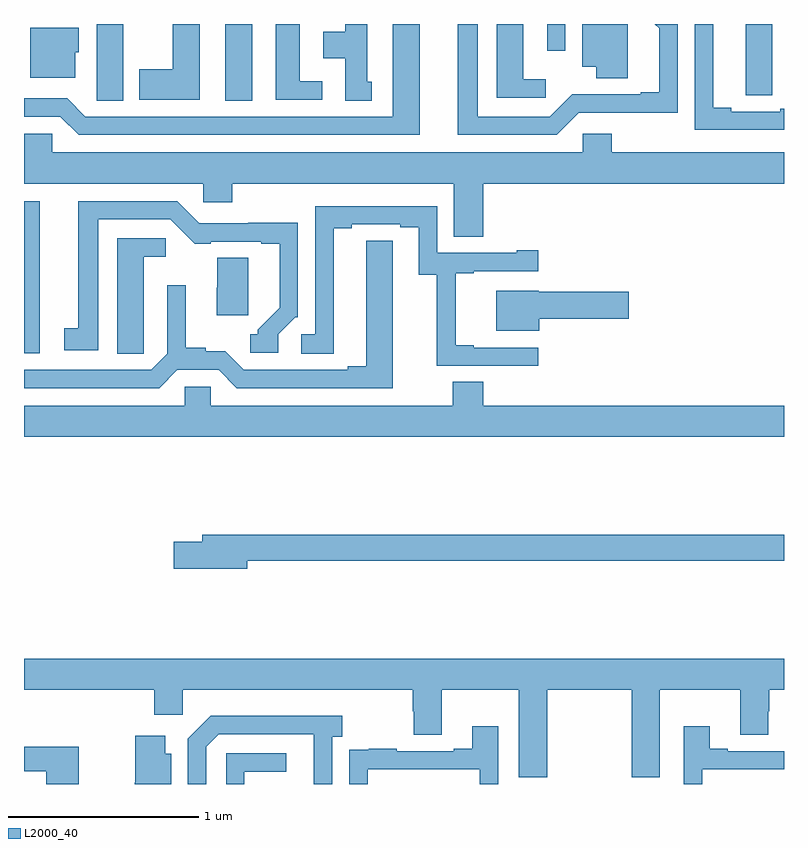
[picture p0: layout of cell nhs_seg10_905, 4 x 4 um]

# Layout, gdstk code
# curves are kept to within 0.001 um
import gdstk
lib = gdstk.Library(unit=1e-6, precision=1e-09)
def R(c, l, rs):  # rectangles x0, y0, x1, y1
    for r in rs: c.add(gdstk.rectangle(r[:2], r[2:], *l))
def P(c, l, *ps):  # polygons
    for p in ps: c.add(gdstk.Polygon(p, *l))
L2000_40 = (2000, 40)

nhs_seg10_905 = lib.new_cell('nhs_seg10_905')
R(nhs_seg10_905, L2000_40, [(157,1288.767,157.084,1289.568), (158.06,1290.097,158.2,1290.5), (159.753,1290.36,159.849,1290.5)])
P(nhs_seg10_905, L2000_40, [(159.921,1290.033),(160.44,1290.032),(160.44,1290.5),(160.321,1290.5),(160.343,1290.478),(160.343,1290.142),(160.247,1290.142),(160.247,1290.129),(159.886,1290.13),(159.768,1290.012),(159.388,1290.012),(159.388,1290.5),(159.284,1290.5),(159.284,1289.916),(159.804,1289.916)],
  [(161,1290.054),(160.979,1290.054),(160.979,1290.039),(160.723,1290.039),(160.723,1290.059),(160.627,1290.059),(160.627,1290.5),(160.53,1290.5),(160.53,1289.943),(161,1289.943)],
  [(160.177,1290.5),(159.938,1290.5),(159.938,1290.275),(160.013,1290.275),(160.013,1290.214),(160.177,1290.214)],
  [(158.83,1290.195),(158.806,1290.195),(158.806,1290.5),(158.69,1290.5),(158.69,1290.46),(158.576,1290.46),(158.576,1290.32),(158.69,1290.32),(158.69,1290.097),(158.83,1290.097)],
  [(159.082,1290.5),(158.942,1290.5),(158.942,1290.012),(157.323,1290.012),(157.227,1290.108),(157,1290.108),(157,1290.012),(157.191,1290.012),(157.287,1289.916),(159.082,1289.916)],
  [(157.924,1290.5),(157.784,1290.5),(157.784,1290.261),(157.607,1290.261),(157.607,1290.101),(157.924,1290.101)],
  [(157.522,1290.5),(157.382,1290.5),(157.382,1290.208),(157.383,1290.208),(157.383,1290.097),(157.522,1290.097)],
  [(159.745,1290.208),(159.628,1290.208),(159.628,1290.5),(159.488,1290.5),(159.488,1290.111),(159.745,1290.111)],
  [(160.938,1290.232),(160.939,1290.232),(160.939,1290.5),(160.799,1290.5),(160.799,1290.124),(160.938,1290.124)],
  [(158.569,1290.198),(158.452,1290.198),(158.452,1290.5),(158.324,1290.5),(158.324,1290.102),(158.569,1290.102)],
  [(157.27,1290.351),(157.288,1290.351),(157.288,1290.481),(157.034,1290.481),(157.034,1290.218),(157.27,1290.218)],
  [(161,1289.824),(160.094,1289.824),(160.094,1289.922),(159.942,1289.922),(159.942,1289.824),(157.149,1289.824),(157.149,1289.922),(157,1289.922),(157,1289.66),(157.944,1289.66),(157.944,1289.562),(158.096,1289.562),(158.096,1289.66),(159.263,1289.66),(159.263,1289.38),(159.416,1289.38),(159.416,1289.66),(161,1289.66)],
  [(158.337,1288.866),(158.427,1288.956),(158.442,1288.956),(158.442,1289.453),(158.179,1289.453),(158.179,1289.451),(157.923,1289.451),(157.806,1289.568),(157.286,1289.568),(157.286,1288.898),(157.212,1288.898),(157.212,1288.782),(157.39,1288.782),(157.39,1289.472),(157.77,1289.472),(157.898,1289.344),(157.984,1289.344),(157.984,1289.355),(158.249,1289.355),(158.249,1289.343),(158.345,1289.343),(158.345,1289.006),(158.229,1288.89),(158.229,1288.866),(158.19,1288.866),(158.19,1288.77),(158.337,1288.77)],
  [(159.706,1288.797),(159.367,1288.797),(159.367,1288.81),(159.272,1288.81),(159.272,1289.187),(159.367,1289.187),(159.367,1289.199),(159.706,1289.199),(159.706,1289.308),(159.593,1289.308),(159.593,1289.295),(159.174,1289.295),(159.174,1289.541),(158.532,1289.541),(158.532,1288.866),(158.46,1288.866),(158.46,1288.765),(158.629,1288.765),(158.629,1289.425),(158.725,1289.425),(158.725,1289.445),(158.981,1289.445),(158.981,1289.43),(159.077,1289.43),(159.077,1289.179),(159.172,1289.179),(159.172,1288.701),(159.706,1288.701)],
  [(157.629,1288.873),(157.63,1288.873),(157.63,1289.276),(157.747,1289.276),(157.747,1289.373),(157.49,1289.373),(157.49,1288.765),(157.629,1288.765)],
  [(157.807,1288.68),(158.025,1288.68),(158.121,1288.584),(158.941,1288.584),(158.94,1289.36),(158.801,1289.36),(158.801,1288.7),(158.705,1288.7),(158.705,1288.68),(158.157,1288.68),(158.06,1288.778),(157.956,1288.778),(157.956,1288.796),(157.852,1288.796),(157.852,1289.125),(157.755,1289.125),(157.755,1288.764),(157.671,1288.68),(157,1288.68),(157,1288.584),(157.711,1288.584)],
  [(158.179,1289.27),(158.017,1289.27),(158.017,1289.112),(158.015,1289.112),(158.015,1288.968),(158.179,1288.968)],
  [(159.712,1288.948),(160.183,1288.948),(160.183,1289.09),(159.708,1289.09),(159.708,1289.095),(159.485,1289.095),(159.485,1288.886),(159.712,1288.886)],
  [(161,1288.492),(159.416,1288.492),(159.416,1288.616),(159.256,1288.616),(159.256,1288.492),(157.983,1288.492),(157.983,1288.59),(157.845,1288.59),(157.845,1288.492),(157,1288.492),(157,1288.328),(161,1288.328)],
  [(158.176,1287.676),(161,1287.676),(161,1287.812),(157.937,1287.812),(157.937,1287.776),(157.788,1287.776),(157.788,1287.634),(158.176,1287.634)],
  [(159.753,1286.996),(160.198,1286.996),(160.198,1286.535),(160.345,1286.535),(160.345,1286.996),(160.769,1286.996),(160.769,1286.758),(160.917,1286.758),(160.917,1286.883),(160.922,1286.883),(160.922,1286.996),(161,1286.996),(161,1287.16),(157,1287.16),(157,1286.996),(157.685,1286.996),(157.685,1286.865),(157.836,1286.865),(157.836,1286.996),(159.047,1286.996),(159.047,1286.883),(159.052,1286.883),(159.052,1286.758),(159.199,1286.758),(159.199,1286.996),(159.605,1286.996),(159.605,1286.535),(159.753,1286.535)],
  [(157.959,1286.697),(158.025,1286.763),(158.525,1286.763),(158.526,1286.5),(158.622,1286.5),(158.622,1286.75),(158.674,1286.75),(158.674,1286.86),(157.984,1286.86),(157.863,1286.739),(157.863,1286.5),(157.959,1286.5)],
  [(158.808,1286.577),(159.399,1286.577),(159.399,1286.5),(159.495,1286.5),(159.495,1286.803),(159.359,1286.803),(159.359,1286.686),(159.263,1286.686),(159.263,1286.673),(158.963,1286.673),(158.963,1286.686),(158.815,1286.686),(158.815,1286.679),(158.713,1286.679),(158.713,1286.57),(158.712,1286.57),(158.712,1286.5),(158.808,1286.5)],
  [(160.569,1286.577),(161,1286.577),(161,1286.673),(160.705,1286.673),(160.705,1286.686),(160.609,1286.686),(160.609,1286.803),(160.473,1286.803),(160.473,1286.5),(160.569,1286.5)],
  [(157.774,1286.659),(157.744,1286.659),(157.744,1286.755),(157.586,1286.755),(157.586,1286.506),(157.582,1286.506),(157.582,1286.5),(157.774,1286.5)],
  [(157.288,1286.695),(157,1286.695),(157,1286.566),(157.118,1286.566),(157.118,1286.5),(157.288,1286.5)],
  [(158.16,1286.565),(158.38,1286.565),(158.38,1286.661),(158.064,1286.661),(158.064,1286.5),(158.16,1286.5)])

lib.write_gds('nhs_seg10_905.gds')
